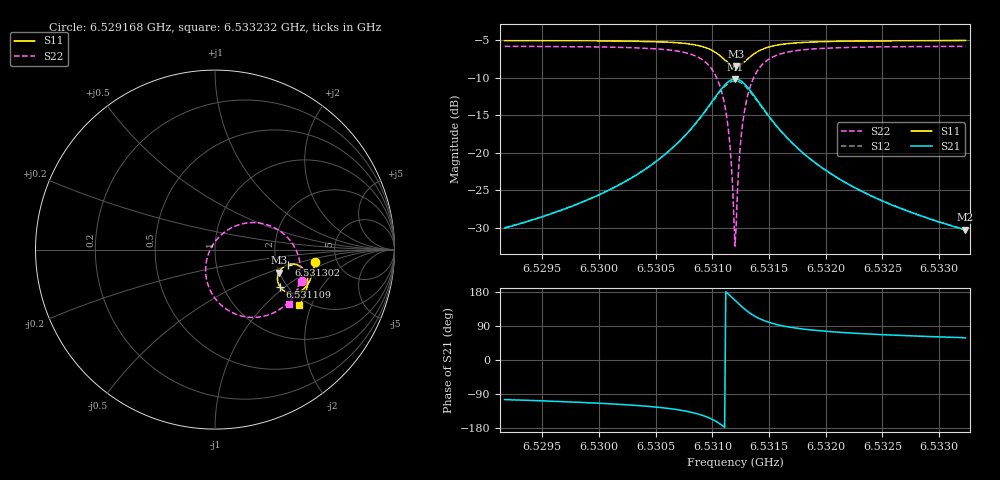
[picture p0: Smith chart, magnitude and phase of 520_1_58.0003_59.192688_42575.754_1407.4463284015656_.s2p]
#  HZ  S  RI  R  50.00
! Rohde & Schwarz Vector Network Analyzer
! Rohde-Schwarz,ZNB20-2Port,1311601062101988,3.16
! Created: UTC 3/21/2024, 1:13:39 AM
! freq[Hz]  re:S11  im:S11  re:S21  im:S21  re:S12  im:S12  re:S22  im:S22
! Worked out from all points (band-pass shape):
!   401 points, 6.529168 GHz to 6.533232 GHz, reference 50 ohm
!   highest |S21| = -10.13 dB at 6.5312 GHz (marker M1); lowest = -30.3 dB at 6.533232 GHz (marker M2)
!   |S21| within 3 dB of the highest: 6.530999 GHz to 6.531405 GHz (406.1 kHz wide, 0.00622 % of centre)
!   lowest |S11| = -8.5 dB at 6.53121 GHz (marker M3), VSWR 2.21, Z = 99 - j29.9 ohm
!   |S11| at or under -10 dB: nowhere
!   |S22| runs from -32.4 to -5.8 dB; largest |S21 - S12| = 0.012
!   S11 on the Smith chart (normalised r, x): 6.529168 GHz: 3.39, -0.71; 6.531109 GHz: 1.83, -0.93; 6.531302 GHz: 2.32, -0.47; 6.533232 GHz: 1.82, -1.64
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6.5291679e9  0.5563 -0.0713  -0.00787 -0.0305  -0.00851 -0.0305  0.4832 -0.1752
6.5298486e9  0.5449 -0.1279  -0.0176 -0.0434  -0.0186 -0.0431  0.4516 -0.2385
6.5305294e9  0.5154 -0.1956  -0.052 -0.0742  -0.0541 -0.0728  0.3688 -0.3276
6.5307631e9  0.4877 -0.2251  -0.0926 -0.0934  -0.0952 -0.0901  0.2872 -0.3671
6.5309358e9  0.4431 -0.2435  -0.1615 -0.0991  -0.1638 -0.0925  0.1601 -0.3726
6.5310374e9  0.3978 -0.2372  -0.2317 -0.0717  -0.2307 -0.062  0.0415 -0.3156
6.5311086e9  0.3628 -0.2087  -0.2828 -0.0119  -0.2769 -0.00193  -0.0353 -0.2067
6.5311492e9  0.35 -0.1802  -0.2987 0.042  -0.2894 0.0499  -0.0523 -0.115
6.5311899e9  0.3496 -0.146  -0.2932 0.1033  -0.282 0.1077  -0.0333 -0.0152
6.5312e9  0.3518 -0.1374  -0.2881 0.1183  -0.2768 0.1217  -0.0223 0.00855
6.5312102e9  0.3548 -0.1292  -0.2815 0.1328  -0.2702 0.1352  -0.00898 0.031
6.5312203e9  0.3587 -0.1213  -0.2733 0.1465  -0.2622 0.1478  0.00621 0.0522
6.5312407e9  0.3688 -0.1074  -0.2537 0.1708  -0.2434 0.1703  0.042 0.0888
6.5312508e9  0.3747 -0.1016  -0.2426 0.1811  -0.2326 0.1799  0.0619 0.1038
6.5312711e9  0.388 -0.0917  -0.2184 0.1978  -0.2098 0.1954  0.1042 0.1275
6.5313016e9  0.4088 -0.083  -0.1807 0.2132  -0.174 0.2097  0.1688 0.1469
6.5313727e9  0.4527 -0.0835  -0.104 0.2144  -0.1007 0.2111  0.2976 0.1362
6.5314744e9  0.4906 -0.1067  -0.0385 0.182  -0.037 0.1802  0.4041 0.0674
6.5316268e9  0.5121 -0.1435  0.000591 0.134  0.00173 0.1334  0.4625 -0.0293
6.5318808e9  0.5166 -0.1874  0.0169 0.0874  0.0179 0.0871  0.4768 -0.1277
6.5325615e9  0.4971 -0.258  0.0185 0.0418  0.0191 0.0415  0.448 -0.2442
6.5332321e9  0.4707 -0.3082  0.0159 0.0262  0.0165 0.026  0.4137 -0.3043
